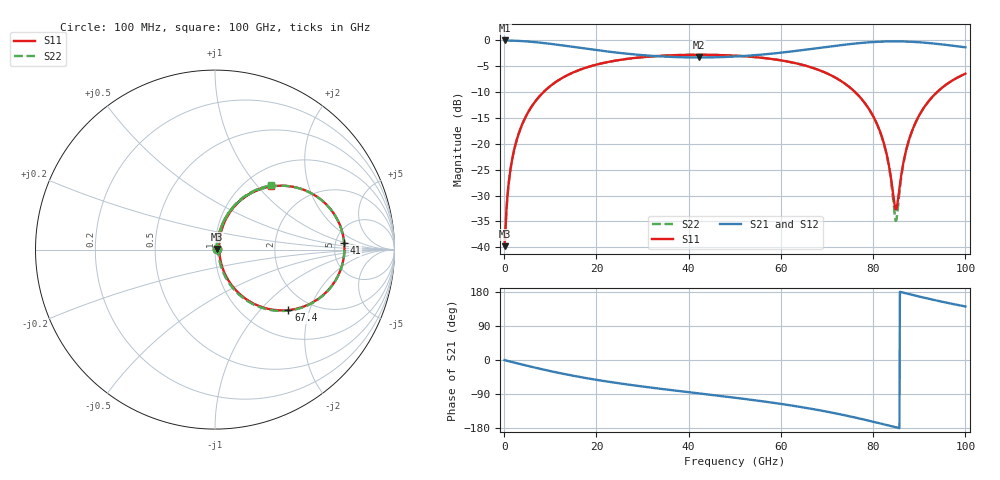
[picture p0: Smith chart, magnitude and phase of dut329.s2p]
! Touchstone file exported from HFSS 2026.1.0
!  File:  C:/ffzhzh/LocalFiles/Ansys_Project_Files/temp_train_RDL_329_1783502847_9504.aedt
!  Generated:  05:29:03 PM Jul  8, 2026
!  Design:  RDL
!  Project:  temp_train_RDL_329_1783502847_9504
! Variables:
!  h_bsmrdl = 2um
!  h_ox = 20um
!  h_rdl = 5um
!  h_sub = 80um
!  h_tmrdl = 2.15um
!  h_tsv = 80um
!  h_via = 3um
!  l_bsmrdl = 300um
!  l_sub = 1096.36um
!  l_tmrdl = 696.36um
!  m_sub = 200um
!  pitch = 49.69um
!  r_tsv = 6um
!  s_tmrdl = 10um
!  w_bsmrdl = 18um
!  w_sub = 500um
!  w_tmrdl = 12.2um
!  x_tsv_center1 = 702.46um
!  x_tsv_center2 = 1020.46um
!  x_tsv_center3 = 1729.02um
!  x_tsv_center4 = 2047.02um
!  x_tsv_center5 = 2755.58um
!  x_tsv_center6 = 3073.58um
# GHz S MA R 50.000000
! Terminal data exported
! Port[1] = TM_RDL1_1_T1
! Port[2] = TM_RDL1_1_T2
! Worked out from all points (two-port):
!   1000 points, 100 MHz to 100 GHz, reference 50 ohm
!   highest |S21| = -0.08 dB at 100 MHz (marker M1); lowest = -3.4 dB at 42.2 GHz (marker M2)
!   |S21| within 3 dB of the highest: start of sweep to 32.54 GHz; 51.91 GHz to end of sweep
!   lowest |S11| = -39.8 dB at 100 MHz (marker M3), VSWR 1.02, Z = 50.9 + j0.421 ohm
!   |S11| at or under -10 dB: start of sweep to 8.58 GHz; 76.04 GHz to 93.92 GHz (17.88 GHz wide, 21 % of centre)
!   |S22| runs from -39.8 to -2.8 dB; largest |S21 - S12| = 1.7e-14
!   S11 on the Smith chart (normalised r, x): 100 MHz: 1.02, +0.01; 41 GHz: 6.02, +0.93; 67.4 GHz: 1.55, -1.46; 100 GHz: 1.30, +1.19
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0.1  0.01027 23.7  0.9906 -0.3  0.9906 -0.3  0.01027 23.7
! Gamma 0 0 0 0
! Port Impedance 50 0 50 0
1  0.04207 72.5  0.9887 -3.1  0.9887 -3.1  0.04207 72.5
1.7  0.06915 75.5  0.9866 -5.3  0.9866 -5.3  0.06915 75.5
4.4  0.1718 72.6  0.9732 -13.4  0.9732 -13.4  0.1718 72.5
9.3  0.3386 60.4  0.9276 -27.4  0.9276 -27.4  0.3386 60.3
16.8  0.5241 42.8  0.8366 -45.6  0.8366 -45.6  0.5241 42.7
33.4  0.702 13.8  0.6974 -75.2  0.6974 -75.2  0.702 13.7
41  0.7208 2.9  0.6791 -86.4  0.6791 -86.4  0.7208 2.8
42.2  0.7212 1.3  0.6787 -88.1  0.6787 -88.1  0.7212 1.1
50.1  0.7065 -10.0  0.6936 -99.7  0.6936 -99.7  0.7065 -10.2
66.7  0.5427 -38.1  0.8215 -129.0  0.8215 -129.0  0.5426 -38.5
67.4  0.5299 -39.5  0.8292 -130.5  0.8292 -130.5  0.5297 -40.0
73.6  0.3873 -53.0  0.8996 -145.2  0.8996 -145.2  0.3871 -53.8
78.2  0.2466 -63.3  0.9439 -157.7  0.9439 -157.7  0.2462 -64.5
81.4  0.1345 -67.9  0.9638 -167.0  0.9638 -167.0  0.1337 -70.1
83.4  0.06245 -61.9  0.9699 -172.9  0.9699 -172.9  0.06065 -66.5
84.6  0.02642 -25.7  0.9709 -176.5  0.9709 -176.5  0.02191 -32.3
85  0.02335 7.8  0.9708 -177.7  0.9708 -177.7  0.01814 9.7
87  0.08126 69.1  0.967 176.3  0.967 176.3  0.07999 72.6
89.5  0.1708 70.7  0.955 168.9  0.955 168.9  0.1703 72.3
93.8  0.3127 62.3  0.9191 156.8  0.9191 156.8  0.3125 63.1
100  0.4736 48.6  0.8506 141.3  0.8506 141.3  0.4736 49.0
